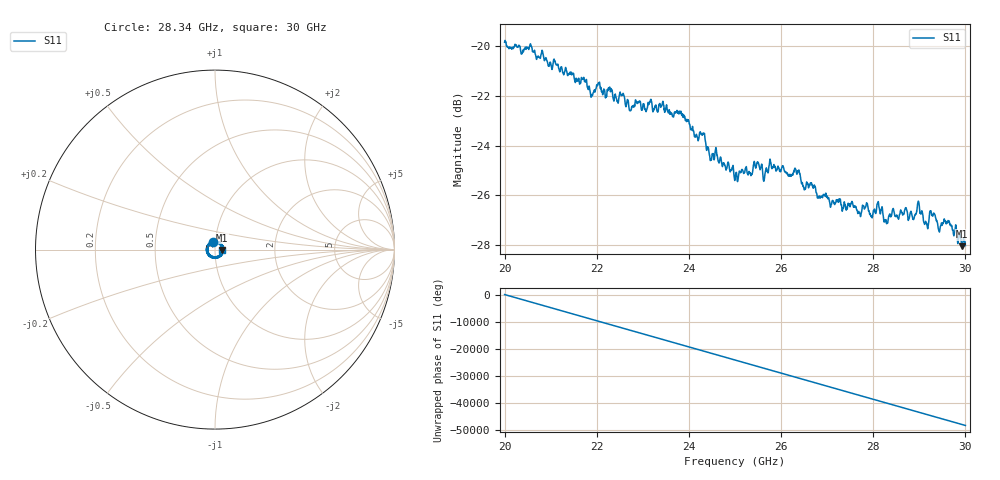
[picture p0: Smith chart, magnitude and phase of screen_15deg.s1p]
#  HZ  S  RI  R  50.00
! Rohde & Schwarz ZVA40 4Ports - Version 3.90 - 1145.1110k42 SN: 100403
! Date: 2023-09-30 06:01:59
! Measurement: S12
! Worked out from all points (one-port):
!   5001 points, 20 GHz to 30 GHz, reference 50 ohm
!   lowest |S11| = -28.0 dB at 29.92 GHz (marker M1), VSWR 1.08, Z = 54.1 - j0.15 ohm
!   |S11| at or under -10 dB: start of sweep to end of sweep
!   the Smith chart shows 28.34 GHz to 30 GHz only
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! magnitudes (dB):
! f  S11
! 20 GHz  -19.8
! 20.55 GHz  -20.0
! 21.25 GHz  -21.0
! 21.73 GHz  -21.4
! 21.89 GHz  -22.0
! 22.04 GHz  -21.5
! 22.5 GHz  -21.9
! 22.74 GHz  -22.6
! 23.75 GHz  -22.7
! 24.16 GHz  -23.6
! 24.3 GHz  -23.5
! 24.48 GHz  -24.6
! 25 GHz  -25.3
! 25.46 GHz  -24.8
! 25.65 GHz  -25.2
! 25.8 GHz  -24.9
! 26.25 GHz  -25.2
! 26.83 GHz  -26.0
! 27.5 GHz  -26.4
! 27.95 GHz  -26.8
! 28.13 GHz  -26.5
! 28.27 GHz  -27.0
! 28.75 GHz  -26.9
! 29 GHz  -26.5
! 29.15 GHz  -27.1
! 29.28 GHz  -26.8
! 29.92 GHz  -28.0
! 30 GHz  -28.0
